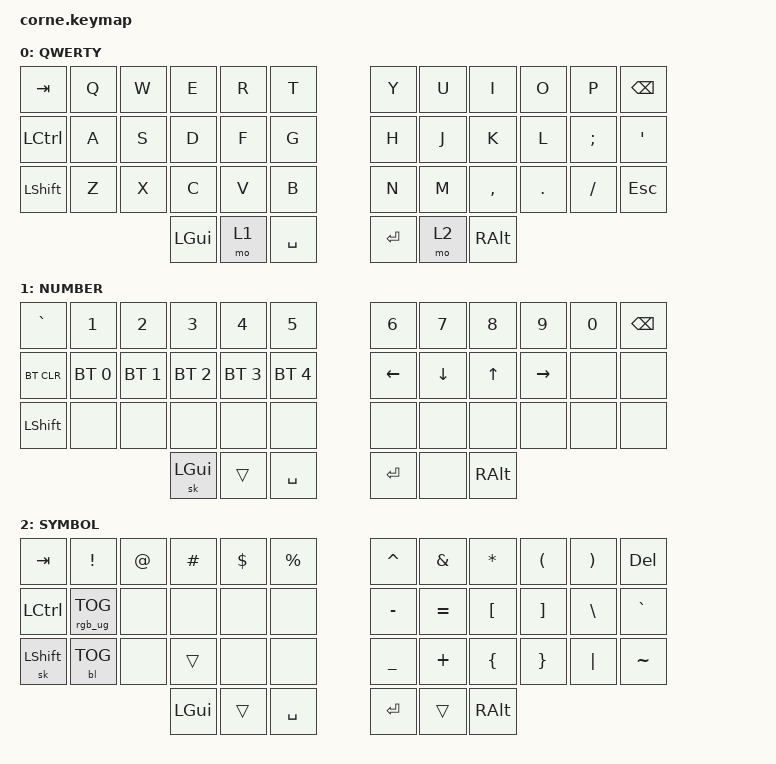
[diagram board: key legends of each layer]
#include <behaviors.dtsi>
#include <dt-bindings/zmk/backlight.h>
#include <dt-bindings/zmk/bt.h>
#include <dt-bindings/zmk/keys.h>
#include <dt-bindings/zmk/rgb.h>

/ {
    keymap {
        compatible = "zmk,keymap";

        default_layer {
            label = "QWERTY";

            // -----------------------------------------------------------------------------------------
            // |  TAB |  Q  |  W  |  E  |  R  |  T  |   |  Y  |  U   |  I  |  O  |  P  | BKSP |
            // | CTRL |  A  |  S  |  D  |  F  |  G  |   |  H  |  J   |  K  |  L  |  ;  |  '   |
            // | SHFT |  Z  |  X  |  C  |  V  |  B  |   |  N  |  M   |  ,  |  .  |  /  | ESC  |
            //                    | GUI | LWR | SPC |   | ENT | RSE  | ALT |

            bindings = <
&kp TAB           &kp Q  &kp W  &kp E         &kp R  &kp T        &kp Y    &kp U  &kp I          &kp O    &kp P     &kp BSPC
&kp LEFT_CONTROL  &kp A  &kp S  &kp D         &kp F  &kp G        &kp H    &kp J  &kp K          &kp L    &kp SEMI  &kp SQT
&kp LSHFT         &kp Z  &kp X  &kp C         &kp V  &kp B        &kp N    &kp M  &kp COMMA      &kp DOT  &kp FSLH  &kp ESC
                                &kp LEFT_GUI  &mo 1  &kp SPACE    &kp RET  &mo 2  &kp RIGHT_ALT
            >;
        };

        lower_layer {
            label = "NUMBER";

            // -----------------------------------------------------------------------------------------
            // |  TAB |  1  |  2  |  3  |  4  |  5  |   |  6  |  7  |  8  |  9  |  0  | BKSP |
            // | BTCLR| BT1 | BT2 | BT3 | BT4 | BT5 |   | LFT | DWN |  UP | RGT |     |      |
            // | SHFT |     |     |     |     |     |   |     |     |     |     |     |      |
            //                    | GUI |     | SPC |   | ENT |     | ALT |

            bindings = <
&kp GRAVE       &kp NUMBER_1  &kp NUMBER_2  &kp NUMBER_3  &kp NUMBER_4  &kp N5          &kp NUMBER_6    &kp NUMBER_7    &kp N8        &kp NUMBER_9     &kp N0  &kp BSPC
&bt BT_CLR      &bt BT_SEL 0  &bt BT_SEL 1  &bt BT_SEL 2  &bt BT_SEL 3  &bt BT_SEL 4    &kp LEFT_ARROW  &kp DOWN_ARROW  &kp UP_ARROW  &kp RIGHT_ARROW  &none   &none
&kp LEFT_SHIFT  &none         &none         &none         &none         &none           &none           &none           &none         &none            &none   &none
                                            &sk LGUI      &trans        &kp SPACE       &kp RET         &none           &kp RALT
            >;
        };

        raise_layer {
            label = "SYMBOL";

            // -----------------------------------------------------------------------------------------
            // |  TAB |  !  |  @  |  #  |  $  |  %  |   |  ^  |  &  |  *  |  (  |  )  | BKSP |
            // | CTRL |     |     |     |     |     |   |  -  |  =  |  [  |  ]  |  \  |  `   |
            // | SHFT |     |     |     |     |     |   |  _  |  +  |  {  |  }  | "|" |  ~   |
            //                    | GUI |     | SPC |   | ENT |     | ALT |

            bindings = <
&kp TAB    &kp EXCL         &kp AT  &kp HASH      &kp DLLR  &kp PRCNT    &kp CARET  &kp AMPS   &kp STAR  &kp LPAR  &kp RPAR  &kp DEL
&kp LCTRL  &rgb_ug RGB_TOG  &none   &none         &none     &none        &kp MINUS  &kp EQUAL  &kp LBKT  &kp RBKT  &kp BSLH  &kp GRAVE
&sk LSHFT  &bl BL_TOG       &none   &trans        &none     &none        &kp UNDER  &kp PLUS   &kp LBRC  &kp RBRC  &kp PIPE  &kp TILDE
                                    &kp LEFT_GUI  &trans    &kp SPACE    &kp RET    &trans     &kp RALT
            >;
        };
    };

    conditional_layers { compatible = "zmk,conditional-layers"; };
};
